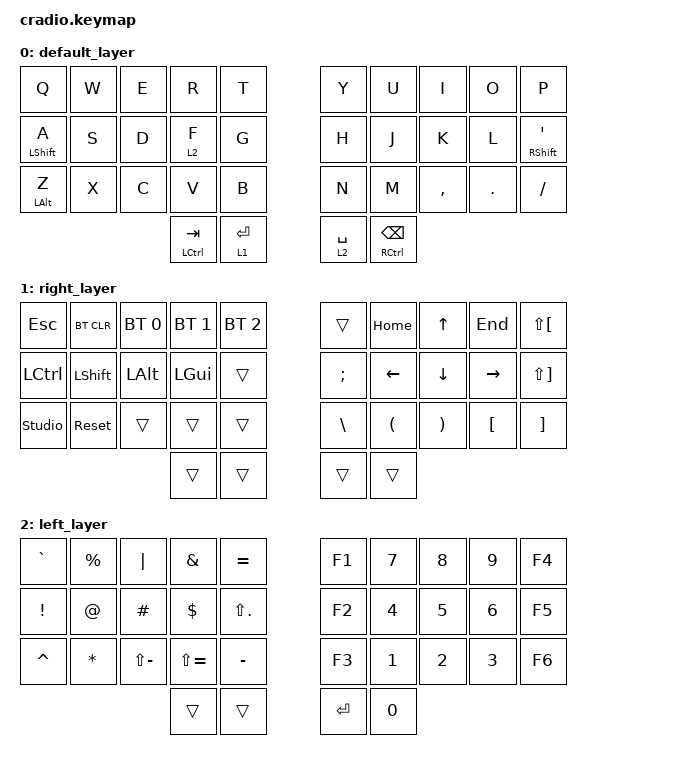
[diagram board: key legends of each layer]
// Copyright (c) 2022 The ZMK Contributors
// SPDX-License-Identifier: MIT

#include <behaviors.dtsi>
#include <dt-bindings/zmk/keys.h>
#include <dt-bindings/zmk/bt.h>

&mt {
    tapping-term-ms = <150>;
};

&lt {
    tapping-term-ms = <150>;
};

/ {
    keymap {
        compatible = "zmk,keymap";
        default_layer {
            bindings = <
        //╭──────────┬──────────┬──────────┬──────────┬──────────╮              ╭──────────┬──────────┬──────────┬──────────┬──────────╮
        //│  Q       │  W       │  E       │  R       │  T       │              │  Y       │  U       │  I       │  O       │  P       │
            &kp Q      &kp W      &kp E      &kp R      &kp T                     &kp Y      &kp U      &kp I      &kp O      &kp P
        //├──────────┼──────────┼──────────┼──────────┼──────────┤              ├──────────┼──────────┼──────────┼──────────┼──────────┤
        //│  A       │  S       │  D       │  F       │  G       │              │  H       │  J       │  K       │  L       │ ' "      │
           &mt LSHFT A  &kp S      &kp D      &lt 2 F     &kp G                     &kp H      &kp J      &kp K      &kp L     &mt RSHFT SQT
        //├──────────┼──────────┼──────────┼──────────┼──────────┤              ├──────────┼──────────┼──────────┼──────────┼──────────┤
        //│  Z       │  X       │  C       │  V       │  B       │              │  N       │  M       │ , <      │ . >      │ / ?      │
           &mt LALT Z   &kp X      &kp C      &kp V      &kp B                     &kp N      &kp M      &kp COMMA  &kp DOT    &kp FSLH
        //╰──────────┴──────────┴──────────┼──────────┼──────────┤              ├──────────┼──────────┼──────────┴──────────┴──────────╯
                                            &mt LCTRL TAB &lt 1 RET             &lt 2 SPACE  &mt RCTRL BSPC
        //                                 ╰──────────┴──────────╯              ╰──────────┴──────────╯
            >;
        };

        right_layer {
            bindings = <
        //╭──────────┬──────────┬──────────┬──────────┬──────────╮              ╭──────────┬──────────┬──────────┬──────────┬──────────╮
        //│ INSERT   │  1       │  2       │  3       │          │              │ HOME     │ PAGE DN  │ PAGE UP  │ END      │  :       │
            &kp ESC  &bt BT_CLR  &bt BT_SEL 0 &bt BT_SEL 1 &bt BT_SEL 2          &trans     &kp HOME    &kp UP      &kp END     &kp LS(LBKT)
        //├──────────┼──────────┼──────────┼──────────┼──────────┤              ├──────────┼──────────┼──────────┼──────────┼──────────┤
        //│ DELETE   │  4       │  5       │  6       │          │              │ LEFT     │ DOWN     │ UP       │ RIGHT    │  ;       │
            &kp LCTRL  &kp LSHFT  &kp LALT   &kp LGUI   &trans                  &kp SEMI  &kp LEFT    &kp DOWN    &kp RIGHT   &kp LS(RBKT)
        //├──────────┼──────────┼──────────┼──────────┼──────────┤              ├──────────┼──────────┼──────────┼──────────┼──────────┤
        //│ CAPS     │  7       │  8       │  9       │  0       │              │          │          │          │          │          │
        &studio_unlock &sys_reset &trans     &trans     &trans                    &kp BSLH  &kp LPAR    &kp RPAR    &kp LBKT    &kp RBKT
        //╰──────────┴──────────┴──────────┼──────────┼──────────┤              ├──────────┼──────────┼──────────┴──────────┴──────────╯
                                             &trans     &trans                   &trans     &trans
        //                                 ╰──────────┴──────────╯              ╰──────────┴──────────╯
            >;
        };

        left_layer {
            bindings = <
        //╭──────────┬──────────┬──────────┬──────────┬──────────╮              ╭──────────┬──────────┬──────────┬──────────┬──────────╮
        //│          │  [       │  {       │  }       │          │              │  ^       │  (       │  )       │  ]       │  ~       │
            &kp GRAVE  &kp PRCNT  &kp PIPE   &kp AMPS  &kp EQUAL                    &kp F1  &kp N7      &kp N8      &kp N9      &kp F4
        //├──────────┼──────────┼──────────┼──────────┼──────────┤              ├──────────┼──────────┼──────────┼──────────┼──────────┤
        //│  !       │  @       │  #       │  $       │  %       │              │  *       │  -       │  =       │  \       │  `       │
            &kp EXCL   &kp AT    &kp HASH    &kp DLLR  &kp LS(DOT)                  &kp F2   &kp N4     &kp N5    &kp N6      &kp F5
        //├──────────┼──────────┼──────────┼──────────┼──────────┤              ├──────────┼──────────┼──────────┼──────────┼──────────┤
        //│          │          │          │          │          │              │  &       │  _       │  +       │  │       │          │
            &kp CARET   &kp ASTRK   &kp LS(MINUS)   &kp LS(EQUAL)   &kp MINUS       &kp F3      &kp N1   &kp N2    &kp N3     &kp F6
        //╰──────────┴──────────┴──────────┼──────────┼──────────┤              ├──────────┼──────────┼──────────┴──────────┴──────────╯
                                             &trans     &trans                    &kp RET     &kp N0
        //                                 ╰──────────┴──────────╯              ╰──────────┴──────────╯
            >;
        };

        extra_1 {
            status = "reserved";
        };

        extra_2 {
            status = "reserved";
        };

        extra_3 {
            status = "reserved";
        };
    };
};
